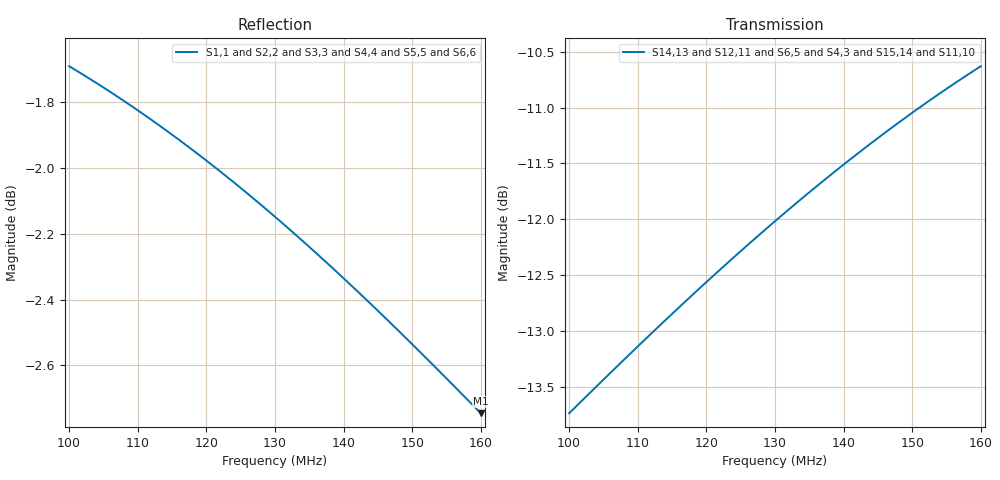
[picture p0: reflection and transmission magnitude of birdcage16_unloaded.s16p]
! birdcage 16-port (gaps), rebuilt from runs/pt_e_{em,me,mm,ee}
! rung 0 at 11.250 deg, rung n at phi0 + n*22.5 deg
# HZ S RI R 500
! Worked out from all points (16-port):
!   31 points, 100 MHz to 160 MHz, reference 500 ohm
!   strongest paths, dB at 100 MHz, 114 MHz, 130 MHz, 146 MHz, 160 MHz:
!     S14,13: -13.7, -12.9, -12.0, -11.2, -10.6
!     S12,11: -13.7, -12.9, -12.0, -11.2, -10.6
!     S6,5: -13.7, -12.9, -12.0, -11.2, -10.6
!     S4,3: -13.7, -12.9, -12.0, -11.2, -10.6
!     S15,14: -13.7, -12.9, -12.0, -11.2, -10.6
!     S11,10: -13.7, -12.9, -12.0, -11.2, -10.6
!   lowest |S11| = -2.7 dB at 160 MHz (marker M1), VSWR 6.38, Z = 90.2 + j191 ohm
!   |S11| at or under -10 dB: nowhere
